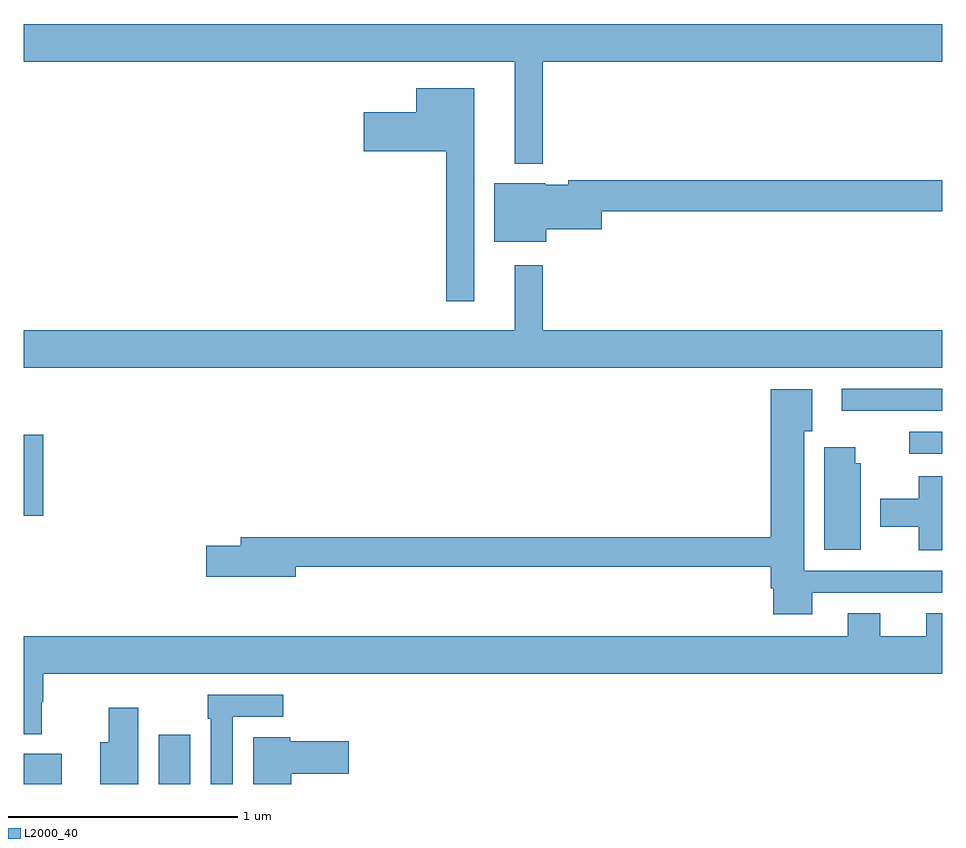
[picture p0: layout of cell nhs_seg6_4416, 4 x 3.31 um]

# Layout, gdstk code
import gdstk
lib = gdstk.Library(unit=1e-6, precision=1e-09)
def R(c, l, rs):  # rectangles x0, y0, x1, y1
    for r in rs: c.add(gdstk.rectangle(r[:2], r[2:], *l))
def P(c, l, *ps):  # polygons
    for p in ps: c.add(gdstk.Polygon(p, *l))
L2000_40 = (2000, 40)

nhs_seg6_4416 = lib.new_cell('nhs_seg6_4416')
R(nhs_seg6_4416, L2000_40, [(371,969.5,371.167,969.631), (371.588,969.5,371.725,969.715), (371,970.667,371.087,971.02), (374.856,970.938,375,971.034), (374.562,971.124,375,971.22)])
P(nhs_seg6_4416, L2000_40, [(373.261,972.644),(375,972.644),(375,972.808),(371,972.808),(371,972.644),(373.139,972.644),(373.139,972.2),(373.261,972.2)],
  [(372.961,972.529),(372.71,972.529),(372.71,972.424),(372.48,972.424),(372.48,972.254),(372.84,972.254),(372.84,971.601),(372.961,971.601)],
  [(373.276,971.915),(373.516,971.915),(373.516,971.992),(375,971.992),(375,972.128),(373.372,972.128),(373.372,972.109),(373.272,972.109),(373.272,972.115),(373.049,972.115),(373.049,971.861),(373.276,971.861)],
  [(375,971.476),(373.261,971.476),(373.261,971.758),(373.139,971.758),(373.139,971.476),(371,971.476),(371,971.312),(375,971.312)],
  [(374.434,970.332),(375,970.332),(375,970.428),(374.398,970.428),(374.398,971.036),(374.434,971.036),(374.434,971.218),(374.252,971.218),(374.252,970.574),(371.945,970.574),(371.945,970.538),(371.796,970.538),(371.796,970.403),(372.184,970.403),(372.184,970.446),(374.252,970.446),(374.252,970.352),(374.264,970.352),(374.264,970.238),(374.434,970.238)],
  [(374.644,970.896),(374.62,970.896),(374.62,970.966),(374.486,970.966),(374.486,970.52),(374.644,970.52)],
  [(375,970.84),(374.897,970.84),(374.897,970.741),(374.729,970.741),(374.729,970.619),(374.897,970.619),(374.897,970.517),(375,970.517)],
  [(371,969.717),(371.08,969.717),(371.08,969.857),(371.087,969.857),(371.087,969.98),(375,969.98),(375,970.243),(374.93,970.243),(374.93,970.144),(374.728,970.144),(374.728,970.243),(374.588,970.243),(374.588,970.144),(371,970.144)],
  [(371.91,969.792),(372.13,969.792),(372.13,969.888),(371.802,969.888),(371.802,969.785),(371.814,969.785),(371.814,969.5),(371.91,969.5)],
  [(371.5,969.832),(371.371,969.832),(371.371,969.682),(371.333,969.682),(371.333,969.5),(371.5,969.5)],
  [(372.166,969.545),(372.415,969.545),(372.415,969.687),(372.162,969.687),(372.162,969.703),(371.999,969.703),(371.999,969.5),(372.166,969.5)])

lib.write_gds('nhs_seg6_4416.gds')
